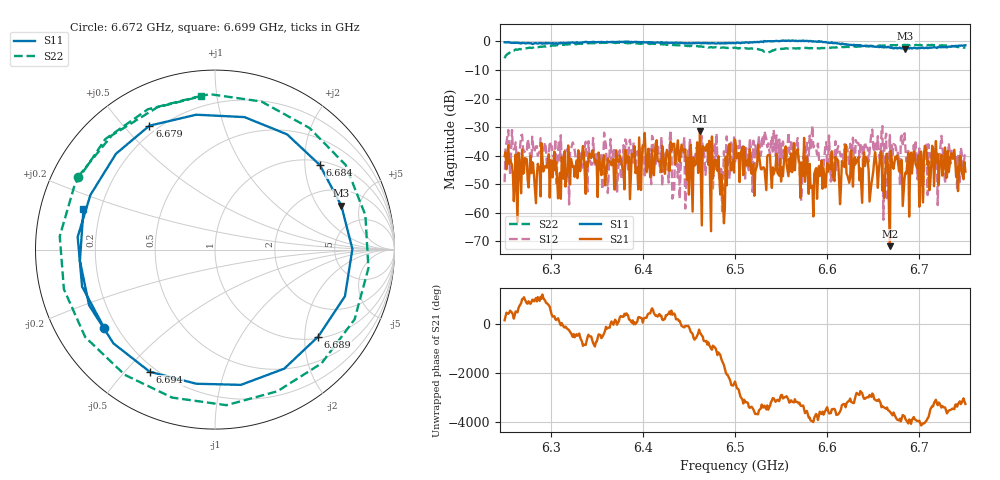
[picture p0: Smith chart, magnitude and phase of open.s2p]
# Hz S RI R 50
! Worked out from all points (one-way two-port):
!   401 points, 6.25 GHz to 6.75 GHz, reference 50 ohm
!   highest |S21| = -31.34 dB at 6.462 GHz (marker M1); lowest = -71.7 dB at 6.668 GHz (marker M2)
!   lowest |S11| = -2.6 dB at 6.685 GHz (marker M3), VSWR 6.85, Z = 151 + j166 ohm
!   |S11| at or under -10 dB: nowhere
!   |S22| runs from -5.9 to -0.3 dB; largest |S21 - S12| = 0.044
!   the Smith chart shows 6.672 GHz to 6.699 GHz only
!   S11 on the Smith chart (normalised r, x): 6.672 GHz: 0.15, -0.31; 6.679 GHz: 0.17, +0.59; 6.684 GHz: 1.11, +2.39; 6.689 GHz: 1.05, -2.34; 6.694 GHz: 0.17, -0.59; 6.699 GHz: 0.14, +0.15
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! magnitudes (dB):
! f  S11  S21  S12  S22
! 6.25 GHz  -0.3  -40.1  -49.3  -5.9
! 6.261 GHz  -0.4  -48.6  -37.3  -3.0
! 6.334 GHz  -0.4  -39.8  -41.3  -0.8
! 6.418 GHz  -0.4  -42.1  -42.8  -1.0
! 6.435 GHz  -0.4  -43.0  -37.9  -1.3
! 6.462 GHz  -0.6  -31.3  -44.2  -1.7
! 6.468 GHz  -0.5  -38.3  -46.7  -1.8
! 6.486 GHz  -0.6  -50.2  -59.4  -2.1
! 6.5 GHz  -0.6  -34.4  -42.9  -2.2
! 6.56 GHz  0.1  -45.4  -39.6  -2.4
! 6.571 GHz  0.2  -54.7  -53.3  -2.4
! 6.584 GHz  -0.1  -50.5  -29.5  -2.4
! 6.658 GHz  -1.8  -38.6  -43.4  -1.4
! 6.668 GHz  -2.2  -71.7  -32.7  -1.4
! 6.672 GHz  -2.4  -44.6  -35.9  -1.3
! 6.679 GHz  -2.1  -42.0  -50.0  -1.3
! 6.684 GHz  -2.5  -47.9  -32.1  -1.2
! 6.685 GHz  -2.6  -45.9  -37.8  -1.2
! 6.689 GHz  -2.5  -61.3  -49.9  -1.3
! 6.694 GHz  -2.3  -38.5  -36.3  -1.2
! 6.699 GHz  -2.3  -40.0  -40.6  -1.3
! 6.75 GHz  -1.4  -45.6  -39.6  -2.2
